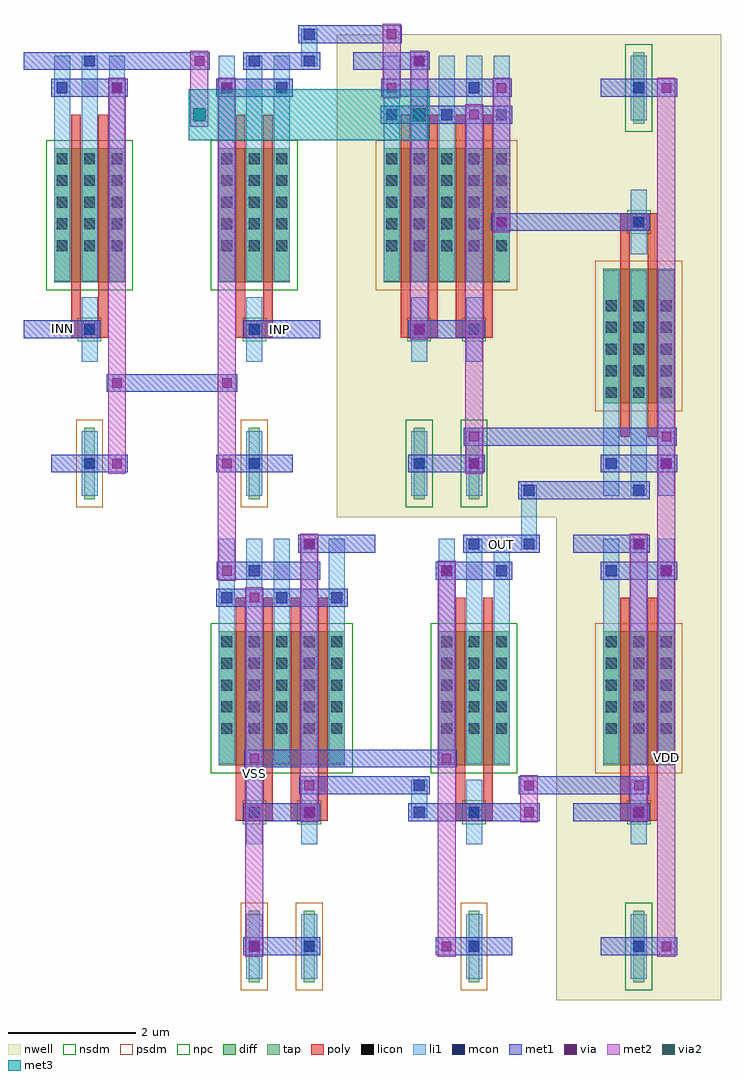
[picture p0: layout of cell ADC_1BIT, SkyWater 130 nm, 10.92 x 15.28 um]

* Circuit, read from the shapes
.subckt ADC_1BIT INN INP OUT VDD VSS
XM1 n1 INN VSS VSS sky130_fd_pr__nfet_01v8 w=2.1 l=0.15 m=2
XM2 VSS n2 VSS VSS sky130_fd_pr__nfet_01v8 w=2.1 l=0.15 m=2
XM3 n3 INP VSS VSS sky130_fd_pr__nfet_01v8 w=2.1 l=0.15 m=2
XM4 n2 n2 VSS VSS sky130_fd_pr__nfet_01v8 w=2.1 l=0.15 m=2
XM5 OUT n2 VSS VSS sky130_fd_pr__nfet_01v8 w=2.1 l=0.15 m=2
XM6 n1 n1 VDD VDD sky130_fd_pr__pfet_01v8 w=2.1 l=0.15 m=2
XM7 n3 n1 VDD VDD sky130_fd_pr__pfet_01v8 w=2.1 l=0.15 m=2
XM8 n2 n2 VDD VDD sky130_fd_pr__pfet_01v8 w=2.1 l=0.15 m=2
XM9 OUT n3 VDD VDD sky130_fd_pr__pfet_01v8 w=2.1 l=0.15 m=2
.ends

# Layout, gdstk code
import gdstk
lib = gdstk.Library(unit=1e-6, precision=1e-09)
def R(c, l, rs):  # rectangles x0, y0, x1, y1
    for r in rs: c.add(gdstk.rectangle(r[:2], r[2:], *l))
def A(c, l, x, y, w, h, nx, ny, dx, dy):  # array of equal rectangles
    R(c, l, [(x+i*dx, y+j*dy, x+i*dx+w, y+j*dy+h) for i in range(nx) for j in range(ny)])
nwell = (64, 20)
diff = (65, 20)
tap = (65, 44)
poly = (66, 20)
licon = (66, 44)
li1 = (67, 20)
mcon = (67, 44)
met1 = (68, 20)
via = (68, 44)
met2 = (69, 20)
via2 = (69, 44)
met3 = (70, 20)
nsdm = (93, 44)
psdm = (94, 20)
npc = (95, 20)

adc_1bit = lib.new_cell('ADC_1BIT')
R(adc_1bit, nwell, [(8.6,0,11.18,7.56), (5.16,7.56,11.18,15.12)])
R(adc_1bit, diff, [(3.315,3.675,5.285,5.775), (6.755,3.675,7.865,5.775), (9.335,3.675,10.445,5.775), (9.335,9.345,10.445,11.445), (0.735,11.235,1.845,13.335), (3.315,11.235,4.425,13.335), (5.895,11.235,7.865,13.335)])
A(adc_1bit, tap, 4.645, 0.28, 0.17, 1.12, 3, 1, 2.58, 0)
A(adc_1bit, tap, 1.205, 7.84, 0.17, 1.12, 3, 1, 2.58, 0)
R(adc_1bit, tap, [(3.785,0.28,3.955,1.4), (7.225,7.84,7.395,8.96), (9.805,13.72,9.975,14.84)])
A(adc_1bit, poly, 4.44, 2.805, 0.58, 0.27, 3, 1, 2.58, 0)
A(adc_1bit, poly, 3.58, 3.075, 0.15, 3.225, 4, 1, 0.43, 0)
A(adc_1bit, poly, 1, 10.365, 0.58, 0.27, 3, 1, 2.58, 0)
A(adc_1bit, poly, 6.16, 10.635, 0.15, 3.225, 4, 1, 0.43, 0)
R(adc_1bit, poly, [(3.58,2.805,4.16,3.075), (7.02,3.075,7.17,6.3), (7.45,3.075,7.6,6.3), (9.6,3.075,9.75,6.3), (10.03,3.075,10.18,6.3), (9.6,8.82,9.75,12.045), (10.03,8.82,10.18,12.045), (7.02,10.365,7.6,10.635), (1,10.635,1.15,13.86), (1.43,10.635,1.58,13.86), (3.58,10.635,3.73,13.86), (4.01,10.635,4.16,13.86), (9.6,12.045,10.18,12.315)])
A(adc_1bit, licon, 4.645, 0.755, 0.17, 0.17, 3, 2, 2.58, 2.1)
A(adc_1bit, licon, 3.355, 4.165, 0.17, 0.17, 5, 5, 0.43, 0.34)
A(adc_1bit, licon, 6.795, 4.165, 0.17, 0.17, 3, 5, 0.43, 0.34)
A(adc_1bit, licon, 9.375, 4.165, 0.17, 0.17, 3, 5, 0.43, 0.34)
A(adc_1bit, licon, 1.205, 8.315, 0.17, 0.17, 3, 2, 2.58, 2.1)
A(adc_1bit, licon, 9.375, 9.425, 0.17, 0.17, 3, 5, 0.43, 0.34)
A(adc_1bit, licon, 0.775, 11.725, 0.17, 0.17, 3, 5, 0.43, 0.34)
A(adc_1bit, licon, 3.355, 11.725, 0.17, 0.17, 3, 5, 0.43, 0.34)
A(adc_1bit, licon, 5.935, 11.725, 0.17, 0.17, 5, 5, 0.43, 0.34)
R(adc_1bit, licon, [(3.785,0.755,3.955,0.925), (3.785,2.855,3.955,3.025), (7.225,8.315,7.395,8.485), (7.225,10.415,7.395,10.585), (9.805,12.095,9.975,12.265), (9.805,14.195,9.975,14.365)])
A(adc_1bit, li1, 4.605, 0.335, 0.25, 1.01, 3, 2, 2.58, 2.1)
A(adc_1bit, li1, 3.315, 3.695, 0.25, 3.53, 5, 1, 0.43, 0)
A(adc_1bit, li1, 6.755, 3.695, 0.25, 3.53, 3, 1, 0.43, 0)
A(adc_1bit, li1, 9.335, 3.695, 0.25, 3.53, 3, 2, 0.43, 4.2)
A(adc_1bit, li1, 1.165, 7.895, 0.25, 1.01, 3, 2, 2.58, 2.1)
A(adc_1bit, li1, 0.735, 11.255, 0.25, 3.53, 3, 1, 0.43, 0)
A(adc_1bit, li1, 3.315, 11.255, 0.25, 3.53, 3, 1, 0.43, 0)
A(adc_1bit, li1, 5.895, 11.255, 0.25, 3.53, 5, 1, 0.43, 0)
R(adc_1bit, li1, [(3.745,0.335,3.995,1.345), (3.745,2.435,3.995,3.445), (6.325,2.855,6.575,3.445), (8.045,7.055,8.295,8.065), (7.185,7.895,7.435,8.905), (7.185,9.995,7.435,11.005), (9.765,11.675,10.015,12.685), (9.765,13.775,10.015,14.785), (4.605,14.615,4.855,15.205)])
A(adc_1bit, mcon, 4.645, 0.755, 0.17, 0.17, 3, 1, 2.58, 0)
A(adc_1bit, mcon, 3.355, 6.215, 0.17, 0.17, 3, 1, 0.86, 0)
A(adc_1bit, mcon, 1.205, 8.315, 0.17, 0.17, 3, 2, 2.58, 2.1)
A(adc_1bit, mcon, 5.935, 13.775, 0.17, 0.17, 3, 1, 0.86, 0)
R(adc_1bit, mcon, [(3.785,0.755,3.955,0.925), (3.785,2.855,3.955,3.025), (4.645,2.855,4.815,3.025), (6.365,2.855,6.535,3.025), (7.225,2.855,7.395,3.025), (9.805,2.855,9.975,3.025), (6.365,3.275,6.535,3.445), (3.785,6.635,3.955,6.805), (6.795,6.635,6.965,6.805), (7.655,6.635,7.825,6.805), (9.375,6.635,9.545,6.805), (10.235,6.635,10.405,6.805), (4.645,7.055,4.815,7.225), (7.225,7.055,7.395,7.225), (8.085,7.055,8.255,7.225), (9.805,7.055,9.975,7.225), (8.085,7.895,8.255,8.065), (9.805,7.895,9.975,8.065), (7.225,8.315,7.395,8.485), (9.375,8.315,9.545,8.485), (10.235,8.315,10.405,8.485), (7.225,10.415,7.395,10.585), (9.805,12.095,9.975,12.265), (0.775,14.195,0.945,14.365), (1.635,14.195,1.805,14.365), (3.355,14.195,3.525,14.365), (4.215,14.195,4.385,14.365), (7.225,14.195,7.395,14.365), (9.805,14.195,9.975,14.365), (1.205,14.615,1.375,14.785), (3.785,14.615,3.955,14.785), (4.645,14.615,4.815,14.785), (6.365,14.615,6.535,14.785), (4.645,15.035,4.815,15.205)])
A(adc_1bit, met1, 3.27, 8.26, 1.2, 0.28, 3, 1, 3.01, 0)
R(adc_1bit, met1, [(3.7,0.7,4.9,0.98), (6.71,0.7,7.91,0.98), (9.29,0.7,10.49,0.98), (3.7,2.8,4.9,3.08), (6.28,2.8,8.34,3.08), (8.86,2.8,10.06,3.08), (4.57,3.22,6.62,3.5), (8.01,3.22,10.05,3.5), (3.71,3.64,7.04,3.92), (3.27,6.16,5.33,6.44), (3.28,6.58,4.9,6.86), (6.71,6.58,7.91,6.86), (9.29,6.58,10.49,6.86), (4.56,7,5.76,7.28), (7.14,7,8.34,7.28), (8.86,7,10.06,7.28), (8,7.84,10.06,8.12), (0.69,8.26,1.89,8.54), (7.15,8.68,10.48,8.96), (1.56,9.52,3.6,9.8), (0.26,10.36,1.46,10.64), (3.7,10.36,4.9,10.64), (6.28,10.36,7.48,10.64), (7.58,12.04,10.06,12.32), (5.85,13.72,7.91,14), (0.69,14.14,1.89,14.42), (3.27,14.14,4.47,14.42), (5.86,14.14,7.9,14.42), (9.29,14.14,10.49,14.42), (0.26,14.56,3.17,14.84), (3.7,14.56,4.9,14.84), (5.42,14.56,6.62,14.84), (4.56,14.98,6.18,15.26)])
A(adc_1bit, via, 3.365, 6.645, 0.15, 0.15, 3, 1, 3.44, 0)
R(adc_1bit, via, [(3.795,0.765,3.945,0.915), (6.805,0.765,6.955,0.915), (10.245,0.765,10.395,0.915), (4.655,2.865,4.805,3.015), (8.095,2.865,8.245,3.015), (9.815,2.865,9.965,3.015), (4.655,3.285,4.805,3.435), (8.095,3.285,8.245,3.435), (9.815,3.285,9.965,3.435), (3.795,3.705,3.945,3.855), (6.805,3.705,6.955,3.855), (3.795,6.225,3.945,6.375), (4.655,7.065,4.805,7.215), (9.815,7.065,9.965,7.215), (1.645,8.325,1.795,8.475), (3.365,8.325,3.515,8.475), (7.235,8.325,7.385,8.475), (10.245,8.325,10.395,8.475), (7.235,8.745,7.385,8.895), (10.245,8.745,10.395,8.895), (1.645,9.585,1.795,9.735), (3.365,9.585,3.515,9.735), (6.375,10.425,6.525,10.575), (7.665,12.105,7.815,12.255), (7.235,13.785,7.385,13.935), (1.645,14.205,1.795,14.355), (3.365,14.205,3.515,14.355), (5.945,14.205,6.095,14.355), (7.665,14.205,7.815,14.355), (10.245,14.205,10.395,14.355), (2.935,14.625,3.085,14.775), (6.375,14.625,6.525,14.775), (5.945,15.045,6.095,15.195)])
R(adc_1bit, met2, [(3.73,0.68,4.01,6.46), (6.74,0.68,7.02,6.88), (10.18,0.68,10.46,14.44), (4.59,2.78,4.87,7.3), (8.03,2.78,8.31,3.52), (9.75,2.78,10.03,7.3), (3.3,6.56,3.58,14.44), (1.58,8.24,1.86,14.44), (7.17,8.24,7.45,14.02), (6.31,10.34,6.59,14.86), (7.6,12.02,7.88,14.44), (2.87,13.675,3.15,14.86), (5.88,14.12,6.16,15.28)])
R(adc_1bit, via2, [(2.91,13.76,3.11,13.96), (6.35,13.76,6.55,13.96)])
R(adc_1bit, met3, [(2.845,13.46,6.615,14.26)])
R(adc_1bit, nsdm, [(9.68,0.155,10.1,1.525), (3.19,3.55,5.41,5.9), (6.63,3.55,7.99,5.9), (6.24,7.715,6.66,9.085), (7.1,7.715,7.52,9.085), (0.61,11.11,1.97,13.46), (3.19,11.11,4.55,13.46), (9.68,13.595,10.1,14.965)])
R(adc_1bit, psdm, [(3.66,0.155,4.08,1.525), (4.52,0.155,4.94,1.525), (7.1,0.155,7.52,1.525), (9.21,3.55,10.57,5.9), (1.08,7.715,1.5,9.085), (3.66,7.715,4.08,9.085), (9.21,9.22,10.57,11.57), (5.77,11.11,7.99,13.46)])
A(adc_1bit, npc, 4.545, 2.755, 0.37, 0.37, 3, 1, 2.58, 0)
A(adc_1bit, npc, 1.105, 10.315, 0.37, 0.37, 3, 1, 2.58, 0)
R(adc_1bit, npc, [(3.685,2.755,4.055,3.125), (7.125,10.315,7.495,10.685), (9.705,11.995,10.075,12.365)])
adc_1bit.add(gdstk.Label('VSS', (3.87,3.54), layer=69, texttype=5))
adc_1bit.add(gdstk.Label('VDD', (10.32,3.8), layer=69, texttype=5))
adc_1bit.add(gdstk.Label('OUT', (7.74,7.13), layer=68, texttype=5))
adc_1bit.add(gdstk.Label('INN', (0.87,10.51), layer=68, texttype=5))
adc_1bit.add(gdstk.Label('INP', (4.27,10.5), layer=68, texttype=5))

lib.write_gds('ADC_1BIT.gds')
